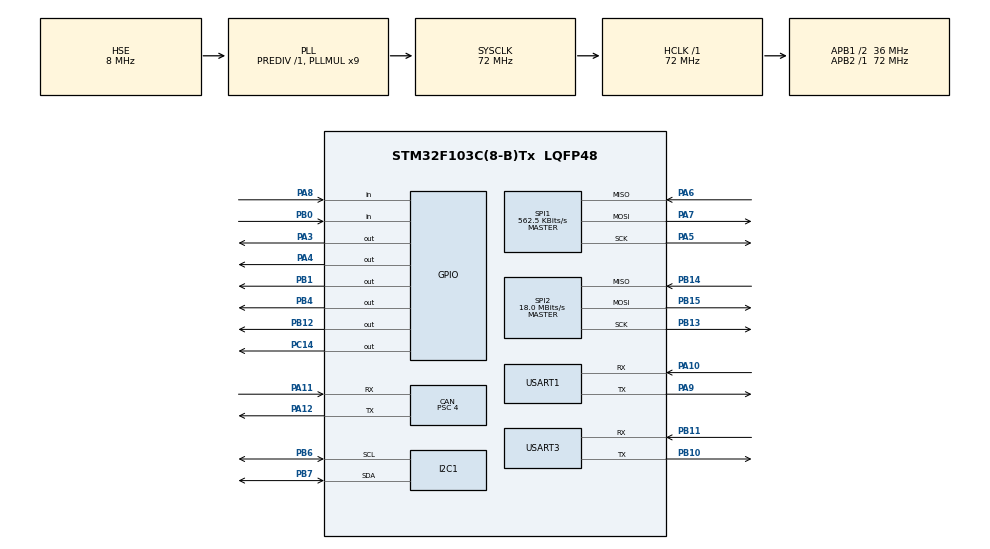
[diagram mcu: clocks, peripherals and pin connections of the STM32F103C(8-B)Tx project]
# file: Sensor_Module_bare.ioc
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CAN.ABOM=ENABLE
CAN.BS1=CAN_BS1_12TQ
CAN.BS2=CAN_BS2_5TQ
CAN.CalculateBaudRate=500000
CAN.CalculateTimeBit=2000
CAN.CalculateTimeQuantum=111.11111111111111
CAN.Prescaler=4
Dma.I2C1_RX.3.Direction=DMA_PERIPH_TO_MEMORY
Dma.I2C1_RX.3.Instance=DMA1_Channel7
Dma.I2C1_RX.3.MemDataAlignment=DMA_MDATAALIGN_BYTE
Dma.I2C1_RX.3.MemInc=DMA_MINC_ENABLE
Dma.I2C1_RX.3.Mode=DMA_NORMAL
Dma.I2C1_RX.3.PeriphDataAlignment=DMA_PDATAALIGN_BYTE
Dma.I2C1_RX.3.PeriphInc=DMA_PINC_DISABLE
Dma.I2C1_RX.3.Priority=DMA_PRIORITY_LOW
Dma.I2C1_TX.4.Direction=DMA_MEMORY_TO_PERIPH
Dma.I2C1_TX.4.Instance=DMA1_Channel6
Dma.I2C1_TX.4.MemDataAlignment=DMA_MDATAALIGN_BYTE
Dma.I2C1_TX.4.MemInc=DMA_MINC_ENABLE
Dma.I2C1_TX.4.Mode=DMA_NORMAL
Dma.I2C1_TX.4.PeriphDataAlignment=DMA_PDATAALIGN_BYTE
Dma.I2C1_TX.4.PeriphInc=DMA_PINC_DISABLE
Dma.I2C1_TX.4.Priority=DMA_PRIORITY_LOW
Dma.Request0=SPI1_TX
Dma.Request1=SPI1_RX
Dma.Request2=SPI2_TX
Dma.Request3=I2C1_RX
Dma.Request4=I2C1_TX
Dma.SPI1_RX.1.Direction=DMA_PERIPH_TO_MEMORY
Dma.SPI1_RX.1.Instance=DMA1_Channel2
Dma.SPI1_RX.1.MemDataAlignment=DMA_MDATAALIGN_BYTE
Dma.SPI1_RX.1.MemInc=DMA_MINC_ENABLE
Dma.SPI1_RX.1.Mode=DMA_NORMAL
Dma.SPI1_RX.1.PeriphDataAlignment=DMA_PDATAALIGN_BYTE
Dma.SPI1_RX.1.PeriphInc=DMA_PINC_DISABLE
Dma.SPI1_RX.1.Priority=DMA_PRIORITY_LOW
Dma.SPI1_TX.0.Direction=DMA_MEMORY_TO_PERIPH
Dma.SPI1_TX.0.Instance=DMA1_Channel3
Dma.SPI1_TX.0.MemDataAlignment=DMA_MDATAALIGN_BYTE
Dma.SPI1_TX.0.MemInc=DMA_MINC_ENABLE
Dma.SPI1_TX.0.Mode=DMA_NORMAL
Dma.SPI1_TX.0.PeriphDataAlignment=DMA_PDATAALIGN_BYTE
Dma.SPI1_TX.0.PeriphInc=DMA_PINC_DISABLE
Dma.SPI1_TX.0.Priority=DMA_PRIORITY_LOW
Dma.SPI2_TX.2.Direction=DMA_MEMORY_TO_PERIPH
Dma.SPI2_TX.2.Instance=DMA1_Channel5
Dma.SPI2_TX.2.MemDataAlignment=DMA_MDATAALIGN_BYTE
Dma.SPI2_TX.2.MemInc=DMA_MINC_ENABLE
Dma.SPI2_TX.2.Mode=DMA_NORMAL
Dma.SPI2_TX.2.PeriphDataAlignment=DMA_PDATAALIGN_BYTE
Dma.SPI2_TX.2.PeriphInc=DMA_PINC_DISABLE
Dma.SPI2_TX.2.Priority=DMA_PRIORITY_LOW
I2C1.I2C_Mode=I2C_Fast
Mcu.Family=STM32F1
Mcu.Name=STM32F103C(8-B)Tx
Mcu.Package=LQFP48
NVIC.CAN1_SCE_IRQn=true\:0\:0\:false\:false\:true\:true\:true\:true
NVIC.DMA1_Channel2_IRQn=true\:0\:0\:false\:false\:true\:false\:true\:true
NVIC.DMA1_Channel3_IRQn=true\:0\:0\:false\:false\:true\:false\:true\:true
NVIC.DMA1_Channel5_IRQn=true\:0\:0\:false\:false\:true\:false\:true\:true
NVIC.DMA1_Channel6_IRQn=true\:0\:0\:false\:false\:true\:false\:true\:true
NVIC.DMA1_Channel7_IRQn=true\:0\:0\:false\:false\:true\:false\:true\:true
NVIC.I2C1_ER_IRQn=true\:0\:0\:false\:false\:true\:true\:true\:true
NVIC.I2C1_EV_IRQn=true\:0\:0\:false\:false\:true\:true\:true\:true
NVIC.PriorityGroup=NVIC_PRIORITYGROUP_4
NVIC.TIM4_IRQn=true\:0\:0\:false\:false\:true\:true\:true\:true
PA10.Mode=Asynchronous
PA10.Signal=USART1_RX
PA11.Mode=CAN_Activate
PA11.Signal=CAN_RX
PA12.Mode=CAN_Activate
PA12.Signal=CAN_TX
PA13.Mode=Serial_Wire
PA13.Signal=SYS_JTMS-SWDIO
PA14.Mode=Serial_Wire
PA14.Signal=SYS_JTCK-SWCLK
PA3.Signal=GPIO_Output
PA4.Signal=GPIO_Output
PA5.Mode=Full_Duplex_Master
PA5.Signal=SPI1_SCK
PA6.Mode=Full_Duplex_Master
PA6.Signal=SPI1_MISO
PA7.Mode=Full_Duplex_Master
PA7.Signal=SPI1_MOSI
PA8.Signal=GPIO_Input
PA9.Mode=Asynchronous
PA9.Signal=USART1_TX
PB0.GPIO_Mode=GPIO_MODE_INPUT
PB0.GPIO_PuPd=GPIO_PULLUP
PB0.Signal=GPIO_Input
PB1.Signal=GPIO_Output
PB10.Mode=Asynchronous
PB10.Signal=USART3_TX
PB11.Mode=Asynchronous
PB11.Signal=USART3_RX
PB12.Signal=GPIO_Output
PB13.Mode=Full_Duplex_Master
PB13.Signal=SPI2_SCK
PB14.Mode=Full_Duplex_Master
PB14.Signal=SPI2_MISO
PB15.Mode=Full_Duplex_Master
PB15.Signal=SPI2_MOSI
PB4.Signal=GPIO_Output
PB6.Mode=I2C
PB6.Signal=I2C1_SCL
PB7.Mode=I2C
PB7.Signal=I2C1_SDA
PC14-OSC32_IN.Signal=GPIO_Output
PD0-OSC_IN.Mode=HSE-External-Oscillator
PD0-OSC_IN.Signal=RCC_OSC_IN
PD1-OSC_OUT.Mode=HSE-External-Oscillator
PD1-OSC_OUT.Signal=RCC_OSC_OUT
ProjectManager.HeapSize=0x200
ProjectManager.StackSize=0x400
ProjectManager.TargetToolchain=CMake
RCC.AHBFreq_Value=72000000
RCC.APB1CLKDivider=RCC_HCLK_DIV2
RCC.APB1Freq_Value=36000000
RCC.APB1TimFreq_Value=72000000
RCC.APB2Freq_Value=72000000
RCC.APB2TimFreq_Value=72000000
RCC.HCLKFreq_Value=72000000
RCC.PLLMUL=RCC_PLL_MUL9
RCC.PLLSourceVirtual=RCC_PLLSOURCE_HSE
RCC.SYSCLKFreq_VALUE=72000000
RCC.SYSCLKSource=RCC_SYSCLKSOURCE_PLLCLK
RCC.USBFreq_Value=72000000
SPI1.BaudRatePrescaler=SPI_BAUDRATEPRESCALER_128
SPI1.CLKPhase=SPI_PHASE_2EDGE
SPI1.CalculateBaudRate=562.5 KBits/s
SPI1.Direction=SPI_DIRECTION_2LINES
SPI1.Mode=SPI_MODE_MASTER
SPI1.VirtualType=VM_MASTER
SPI2.CalculateBaudRate=18.0 MBits/s
SPI2.Direction=SPI_DIRECTION_2LINES
SPI2.Mode=SPI_MODE_MASTER
SPI2.VirtualType=VM_MASTER
TIM4.Period=999
TIM4.Prescaler=71
USART1.VirtualMode=VM_ASYNC
USART3.VirtualMode=VM_ASYNC
VP_TIM4_VS_ClockSourceINT.Mode=Internal
board=custom

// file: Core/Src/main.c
/* USER CODE BEGIN Header */
/**
  ******************************************************************************
  * @file           : main.c
  * @brief          : Main program body
  ******************************************************************************
  * @attention
  *
  * Copyright (c) 2026 STMicroelectronics.
  * All rights reserved.
  *
  * This software is licensed under terms that can be found in the LICENSE file
  * in the root directory of this software component.
  * If no LICENSE file comes with this software, it is provided AS-IS.
  *
  ******************************************************************************
  */
/* USER CODE END Header */
#include "main.h"
#include "can.h"
#include "dma.h"
#include "i2c.h"
#include "spi.h"
#include "tim.h"
#include "usart.h"
#include "gpio.h"

/* USER CODE BEGIN Includes */
#include "MLX90621.h"
#include "modbus.h"
#include "AnalogToRs485.h"
#include "ADS1248.h"
#include "can_scheduler.h"
#include "sys_tick.h"
/* USER CODE END Includes */

void SystemClock_Config(void);

int main(void)
{

  /* USER CODE BEGIN 1 */
  bool CAN_SubmitBatch(CAN_Frame_t *frames, uint8_t count, uint32_t timeout_ms) {
    uint32_t start = HAL_GetTick();
    uint8_t submitted = 0;

    while(submitted < count) {
      if(CAN_PushFrame(&frames[submitted], CAN_CH_HIGH)) {
        submitted++;
      } else {
        // 队列满，驱动发送释放空间
        CAN_Scheduler_Process();

        if((HAL_GetTick() - start) > timeout_ms) {
          return false;  // 超时
        }
      }
    }
    return true;
  }
  /* USER CODE END 1 */

  /* MCU Configuration--------------------------------------------------------*/

  /* Reset of all peripherals, Initializes the Flash interface and the Systick. */
  HAL_Init();

  /* Configure the system clock */
  SystemClock_Config();

  /* Initialize all configured peripherals */
  MX_GPIO_Init();
  MX_DMA_Init();
  MX_CAN_Init();
  MX_I2C1_Init();
  MX_SPI1_Init();
  MX_TIM4_Init();
  MX_USART3_UART_Init();
  MX_SPI2_Init();
  MX_USART1_UART_Init();
  /* USER CODE BEGIN 2 */
  uint8_t flag= 1;
  float voltage[4];
  uint8_t CAN_Buffer[8];
  CAN_Frame_t ADS1248_Frame;
  CAN_Frame_t MLX90621_Frame[16];
  CAN_Frame_t aaa;
  HAL_GPIO_WritePin(GPIOA, GPIO_PIN_4, GPIO_PIN_SET);
  refrate = 1;
  HAL_Delay(200);
  ADS1248_Init(GPIOB, GPIO_PIN_1);
  // MLX90621_Init();
  // // 连续测量两次但不发送，确保传感器内部流水线充满正确的数据
  // for(uint8_t warmup = 0; warmup < 2; warmup++) {
  //   MLX90621_Measure();
  //   HAL_Delay(200);
  // }

  // HAL_GPIO_WritePin(GPIOB, GPIO_PIN_4, GPIO_PIN_RESET);
  CAN_Scheduler_Init();
  CAN_Scheduler_StartTimer(&htim4);

  /* USER CODE END 2 */

  /* Infinite loop */
  /* USER CODE BEGIN WHILE */
  while (1)
  {
    memset(voltage, 0, sizeof(voltage));
    memset(temperatures, 0, sizeof(temperatures));

    // if (MLX90621_Measure() != 1) {
    //   // 此时说明 I2C 通信已经挂了
    //   // 1. 彻底关闭 I2C 外设
    //   __HAL_I2C_DISABLE(&hi2c1);
    //   HAL_Delay(5);
    //
    //   // 2. 重新初始化 I2C 硬件寄存器
    //   HAL_I2C_DeInit(&hi2c1);
    //   HAL_I2C_Init(&hi2c1);
    //   MLX90621_Init();      // 重新初始化
    //   // 连续测量2次但不发送，确保传感器内部流水线充满正确的数据
    //   for(uint8_t warmup = 0; warmup < 2; warmup++) {
    //     MLX90621_Measure();
    //   }
    //   MLX90621_Measure();
    // }

    for (uint8_t i = 0; i < 4; i++)
    {
      ADS1248_SetMUX0(GPIOB, GPIO_PIN_1, i);
      //measure voltage by the SPI device
      voltage[i] = ADS1248_Measure_Voltage(GPIOB, GPIO_PIN_1, 1);

      // // transmit by UART
      // char buffer[20];
      // float voltage_temp;
      // if (voltage[i] < 0)
      // {
      //   HAL_UART_Transmit(&huart3, (uint8_t *)"-", 1, HAL_MAX_DELAY);
      //   voltage_temp = -voltage[i];
      // }
      // else voltage_temp = voltage[i];
      // int voltage_int = (int)(voltage_temp * 100000);
      // int whole = voltage_int / 100000;
      // int decimal = voltage_int % 100000;
      // memset(buffer, 0, sizeof(buffer));
      // snprintf(buffer, sizeof(buffer), "%d.%05d", whole, decimal);
      // HAL_UART_Transmit(&huart3, (uint8_t *)buffer, strlen(buffer), HAL_MAX_DELAY);
      // HAL_UART_Transmit(&huart3, (uint8_t *)"\r\n", 3, HAL_MAX_DELAY);
    }

    memset(CAN_Buffer, 0, sizeof(CAN_Buffer));
    for (uint8_t j = 0; j < 4; j++)
    {
      if (voltage[j] != -999.0)
      {
        uint16_t temp = Float_To_Uint16(voltage[j],-2.048f, 2.048f);
        Pack_Uint16_To_CanData(temp, CAN_Buffer, j * 2, true);
      }
    }

    ADS1248_Frame.StdId = 0x102;
    memcpy(ADS1248_Frame.Data, CAN_Buffer, 8);  // ✅ 用memcpy拷贝数组内容
    ADS1248_Frame.Dlc = 8;

    // for (uint8_t i = 0; i < 16; i ++)
    // {
    //   for (uint8_t j = 0; j < 4; j++)
    //   {
    //     if (temperatures[4 * i + j] > 0)
    //     {
    //       flag = 1;
    //       uint16_t temp = Float_To_Uint16(temperatures[4 * i + j],-40.0f, 125.0f);
    //       Pack_Uint16_To_CanData(temp, CAN_Buffer, j * 2, true);
    //     }
    //     else
    //     {
    //       flag = 0;
    //     }
    //   }
    //
    //   MLX90621_Frame[i].StdId = 0x90 + i;
    //   memcpy(MLX90621_Frame[i].Data, CAN_Buffer, 8);  // ✅ 用memcpy拷贝数组内容
    //   MLX90621_Frame[i].Dlc = 8;
    // }
    //
    //
    // if (flag == 1)
    // {
    //   CAN_SubmitBatch(MLX90621_Frame, 16, 100);
    // }

    CAN_PushFrame(&ADS1248_Frame, CAN_CH_MEDIUM);

    // for (uint8_t i = 0; i < 16; i++)
    // {
    //   if (Get_Task_State(i) != TASK_STATE_READY)
    //   {
    //     break;
    //   }
    //   CAN_PushFrame(&MLX90621_Frame[i], CAN_CH_MEDIUM);
    //   Delay_ms(i, 500);
    // }

    CAN_Scheduler_Process();

    // CAN_Send_Float(0x102, voltage, 1, -2.048f, 2.048f);

    /* USER CODE END WHILE */

  }
}

void SystemClock_Config(void)
{
  RCC_OscInitTypeDef RCC_OscInitStruct = {0};
  RCC_ClkInitTypeDef RCC_ClkInitStruct = {0};

  /** Initializes the RCC Oscillators according to the specified parameters
  * in the RCC_OscInitTypeDef structure.
  */
  RCC_OscInitStruct.OscillatorType = RCC_OSCILLATORTYPE_HSE;
  RCC_OscInitStruct.HSEState = RCC_HSE_ON;
  RCC_OscInitStruct.HSEPredivValue = RCC_HSE_PREDIV_DIV1;
  RCC_OscInitStruct.HSIState = RCC_HSI_ON;
  RCC_OscInitStruct.PLL.PLLState = RCC_PLL_ON;
  RCC_OscInitStruct.PLL.PLLSource = RCC_PLLSOURCE_HSE;
  RCC_OscInitStruct.PLL.PLLMUL = RCC_PLL_MUL9;
  if (HAL_RCC_OscConfig(&RCC_OscInitStruct) != HAL_OK)
  {
    Error_Handler();
  }

  /** Initializes the CPU, AHB and APB buses clocks
  */
  RCC_ClkInitStruct.ClockType = RCC_CLOCKTYPE_HCLK|RCC_CLOCKTYPE_SYSCLK
                              |RCC_CLOCKTYPE_PCLK1|RCC_CLOCKTYPE_PCLK2;
  RCC_ClkInitStruct.SYSCLKSource = RCC_SYSCLKSOURCE_PLLCLK;
  RCC_ClkInitStruct.AHBCLKDivider = RCC_SYSCLK_DIV1;
  RCC_ClkInitStruct.APB1CLKDivider = RCC_HCLK_DIV2;
  RCC_ClkInitStruct.APB2CLKDivider = RCC_HCLK_DIV1;

  if (HAL_RCC_ClockConfig(&RCC_ClkInitStruct, FLASH_LATENCY_2) != HAL_OK)
  {
    Error_Handler();
  }
}

void Error_Handler(void)
{
  __disable_irq();
  while (1)
  {
  }
}
